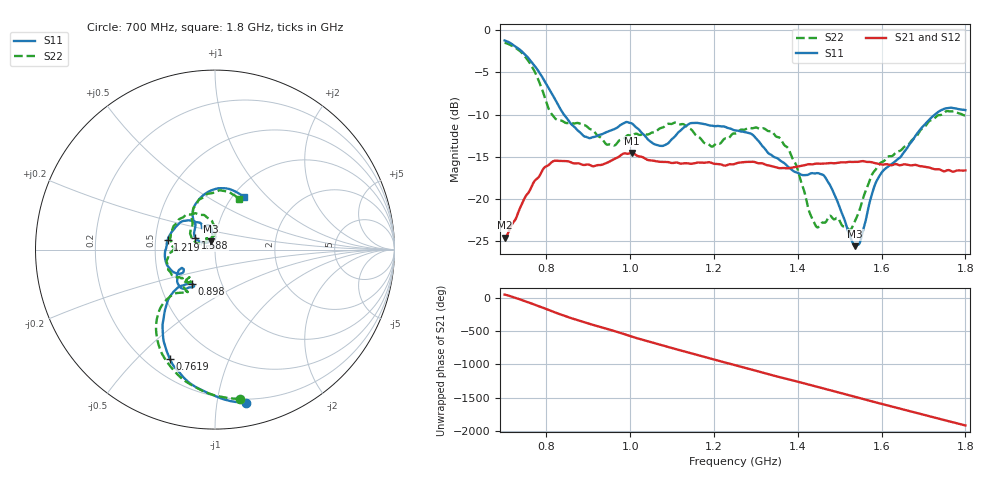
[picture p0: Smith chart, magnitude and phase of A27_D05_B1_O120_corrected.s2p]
! Created with skrf 1.9.0 (http://scikit-rf.org).
# Hz S RI R 50.0
!freq ReS11 ImS11 ReS21 ImS21 ReS12 ImS12 ReS22 ImS22
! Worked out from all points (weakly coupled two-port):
!   1601 points, 700 MHz to 1.8 GHz, reference 50 ohm
!   highest |S21| = -14.54 dB at 1.003 GHz (marker M1); lowest = -24.6 dB at 700 MHz (marker M2)
!   lowest |S11| = -25.6 dB at 1.537 GHz (marker M3), VSWR 1.11, Z = 47.5 + j4.46 ohm
!   |S11| at or under -10 dB: 841.6 MHz to 1.727 GHz (885.3 MHz wide, 68.9 % of centre)
!   |S22| runs from -23.7 to -1.5 dB; largest |S21 - S12| = 0.0034
!   S11 on the Smith chart (normalised r, x): 700 MHz: 0.17, -1.21; 761.9 MHz: 0.29, -0.63; 898 MHz: 0.72, -0.30; 1.219 GHz: 0.58, +0.07; 1.588 GHz: 0.80, +0.10; 1.8 GHz: 1.12, +0.75
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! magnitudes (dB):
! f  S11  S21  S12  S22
! 700 MHz  -1.2  -24.6  -24.4  -1.5
! 761.9 MHz  -3.6  -18.8  -18.7  -4.0
! 817.6 MHz  -7.9  -15.5  -15.6  -10.3
! 883.6 MHz  -12.3  -15.9  -15.8  -11.2
! 898 MHz  -12.7  -15.9  -16.0  -11.5
! 946.1 MHz  -12.0  -15.7  -15.7  -13.6
! 1.003 GHz  -11.0  -14.5  -14.7  -12.5
! 1.067 GHz  -13.7  -15.6  -15.5  -11.8
! 1.144 GHz  -11.0  -15.8  -15.8  -11.7
! 1.219 GHz  -11.4  -15.9  -16.0  -13.2
! 1.25 GHz  -11.9  -15.8  -15.8  -12.2
! 1.358 GHz  -15.5  -16.4  -16.3  -12.8
! 1.396 GHz  -16.8  -16.2  -16.2  -16.0
! 1.434 GHz  -16.9  -15.9  -15.9  -22.2
! 1.472 GHz  -18.0  -15.8  -15.8  -22.2
! 1.523 GHz  -24.3  -15.6  -15.6  -23.7
! 1.537 GHz  -25.6  -15.6  -15.6  -22.6
! 1.55 GHz  -24.9  -15.5  -15.6  -20.9
! 1.588 GHz  -17.9  -15.8  -15.8  -16.4
! 1.617 GHz  -16.1  -15.9  -15.9  -14.9
! 1.733 GHz  -9.8  -16.5  -16.5  -10.1
! 1.8 GHz  -9.5  -16.6  -16.6  -10.1
